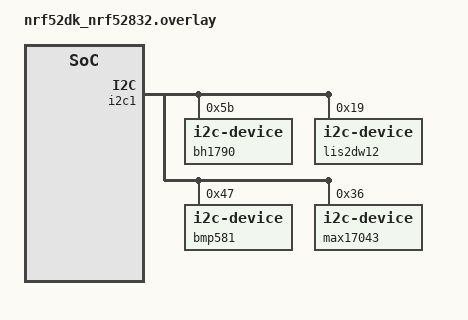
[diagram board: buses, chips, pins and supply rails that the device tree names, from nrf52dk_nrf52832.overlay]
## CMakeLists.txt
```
# SPDX-License-Identifier: Apache-2.0

cmake_minimum_required(VERSION 3.20.0)
find_package(Zephyr REQUIRED HINTS $ENV{ZEPHYR_BASE})
project(driveguardian_dk)

target_sources(app PRIVATE src/bmp581.c)
target_sources(app PRIVATE src/main.c)
target_sources(app PRIVATE src/lis2dw12tr.c)
target_sources(app PRIVATE src/bh1790glc.c)
target_sources(app PRIVATE src/sensor_data.c)
target_sources(app PRIVATE src/max17043.c)
target_include_directories(app PRIVATE inc)
```

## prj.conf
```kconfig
# Floating Point Format Specifiers Support
CONFIG_CBPRINTF_FP_SUPPORT=y
# I2C Support
CONFIG_I2C=y
# Logger module
CONFIG_LOG=y
# Nordic DK library
CONFIG_DK_LIBRARY=y
# Bluetooth LE
CONFIG_BT=y
# Bluetooth Peripheral Role
CONFIG_BT_PERIPHERAL=y
# Increase stack size for the main thread and System Workqueue
CONFIG_SYSTEM_WORKQUEUE_STACK_SIZE=2048
CONFIG_MAIN_STACK_SIZE=2048
```

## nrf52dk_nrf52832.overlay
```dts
// To get started, press Ctrl+Space to bring up the completion menu and view the available nodes.

// You can also use the buttons in the sidebar to perform actions on nodes.
// Actions currently available include:

// * Enabling / disabling the node
// * Adding the bus to a bus
// * Removing the node
// * Connecting ADC channels

// For more help, browse the DeviceTree documentation at https://docs.zephyrproject.org/latest/guides/dts/index.html
// You can also visit the nRF DeviceTree extension documentation at https://nrfconnect.github.io/vscode-nrf-connect/devicetree/nrfdevicetree.html

&i2c1 {
    bh1790:bh1790@5B{
		compatible = "i2c-device";
		status = "okay";
		reg = < 0x5B >;
	};

	lis2dw12:lis2dw12@19{
		compatible = "i2c-device";
		status = "okay";
		reg = < 0x19 >;
	};

	bmp581:bmp581@47{
		compatible="i2c-device";
		status = "okay";
		reg = <0x47>;
	};

	max17043:max17043@36{
		compatible="i2c-device";
		status = "okay";
		reg = <0x36>;
	};
};
```

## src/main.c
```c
/*
      Main Source File
      Author: João Pedro Baiense
      Date: 21/04/2024
*/

#include <zephyr/kernel.h>
#include <zephyr/drivers/gpio.h>
#include <zephyr/logging/log.h>
#include <zephyr/drivers/i2c.h>
#include <zephyr/bluetooth/bluetooth.h>
#include <zephyr/bluetooth/gap.h>
#include <zephyr/bluetooth/uuid.h>
#include <zephyr/bluetooth/conn.h>
#include <dk_buttons_and_leds.h>
#include "bh1790glc.h"
#include "lis2dw12tr.h"
#include "sensor_data.h"
#include "bmp581.h"
#include "max17043.h"

// The "foundries_io_mod" logger module level is set to "debug" (numeric level 4).
#define LOG_LEVEL CONFIG_FOUNDRIES_IO_MOD_LOG_LEVEL
#define LOG_MODULE_NAME foundries_io_mod
#include <zephyr/logging/log.h>
LOG_MODULE_REGISTER();

static struct bt_le_adv_param *adv_param = BT_LE_ADV_PARAM(
	(BT_LE_ADV_OPT_CONNECTABLE |
	 BT_LE_ADV_OPT_USE_IDENTITY), /* Connectable advertising and use identity address */
	800, /* Min Advertising Interval 500ms (800*0.625ms) */
	801, /* Max Advertising Interval 500.625ms (801*0.625ms) */
	NULL); /* Set to NULL for undirected advertising */

#define DEVICE_NAME "DRIVE_GUARDIAN"
#define DEVICE_NAME_LEN (sizeof(DEVICE_NAME) - 1)

#define STACKSIZE 1024
#define PRIORITY 0
/* Interval for run time */
#define RUN_INTERVAL 1000
/* Interval to send data over BLE */
#define NOTIFY_INTERVAL 500

static const struct bt_data ad[] = {
	BT_DATA_BYTES(BT_DATA_FLAGS, (BT_LE_AD_GENERAL | BT_LE_AD_NO_BREDR)),
	BT_DATA(BT_DATA_NAME_COMPLETE, DEVICE_NAME, DEVICE_NAME_LEN),
};

static const struct bt_data sd[] = {
	BT_DATA_BYTES(BT_DATA_UUID128_ALL, BT_UUID_DRIVE_GUARDIAN_VAL),
};

/* Struct that stores the data to stream over Bluetooth LE */
SensorData sensor_data;

float vcell;
uint16_t ppg_led_off;

/* thread function  */
void send_data_thread(void)
{
	while (1) {
		int err;

		err = BH1790GLC_get_val(&ppg_led_off, &sensor_data.ppg_led_on);

		if(err != SUCCESS){
			LOG_INF("Couldn't get PPG value!\n\r");
		}

		LOG_INF("PPG values retrieved, OFF: %d and ON: %d \n\r", ppg_led_off, sensor_data.ppg_led_on);

		sensor_data.x_axis_data = get_x_axes_data();

		sensor_data.y_axis_data = get_y_axes_data();

		sensor_data.z_axis_data = get_z_axes_data();

		LOG_INF("X axis data: %d, Y axis data: %d and Z axis data: %d\n\r", sensor_data.x_axis_data, sensor_data.y_axis_data, sensor_data.z_axis_data); 
		
		err = BMP581_get_temp_press_val(&sensor_data.temperature, &sensor_data.pressure);
	
		if(err != SUCCESS){
			LOG_INF("Couldn't get pressure value!\n\r");
		}

		LOG_INF("temperature value: %d and pressure value %d \n\r", sensor_data.temperature, sensor_data.pressure);

		err = max17043_get_vcell(&vcell);

		if(err != SUCCESS){
			LOG_INF("Couldn't get VCELL data!\n\r");
		}

		LOG_INF("vcell value: %f \n\r", vcell);
		
		err = max17043_get_soc(&sensor_data.soc);

		if(err != SUCCESS){
			LOG_INF("Couldn't get SOC data!\n\r");
		}
		
		LOG_INF("SOC value: %f \n\r", sensor_data.soc);	
		
		/* Send notification, the function sends notifications only if a client is subscribed */
		send_sensor_notify(&sensor_data);

		k_sleep(K_MSEC(NOTIFY_INTERVAL));
	}
}

static void on_connected(struct bt_conn *conn, uint8_t err)
{
	if (err) {
		printk("Connection failed (err %u)\n", err);
		return;
	}

	printk("Connected\n");
}

static void on_disconnected(struct bt_conn *conn, uint8_t reason)
{
	printk("Disconnected (reason %u)\n", reason);
}

struct bt_conn_cb connection_callbacks = {
	.connected = on_connected,
	.disconnected = on_disconnected,
};

void main(void)
{
	int err;

	err = BH1790GLC_init();

	if(err != 0){
		LOG_INF("Couldn't load PPG sensor!\n\r");
	} else {
		LOG_INF("PPG sensor loaded!\n\r");
	}

	err = lis2dw12_init();

	if(err != 0){
		LOG_INF("Couldn't load ACC sensor!\n\r");
	} else {
		LOG_INF("ACC sensor loaded!\n\r");
	}

	err = bmp581_init();

	if(err != 0){
		LOG_INF("Couldn't load pressure sensor!\n\r");
	} else {
		LOG_INF("pressure sensor loaded!\n\r");
	}

	err = max17043_init();

	if(err != 0){
		LOG_INF("Couldn't load fuel gauge!\n\r");
	} else {
		LOG_INF("Fuel gauge loaded!\n\r");
	}
	
	err = bt_enable(NULL);
	if (err) {
		LOG_ERR("Bluetooth init failed (err %d)\n", err);
		return;
	}
	
	bt_conn_cb_register(&connection_callbacks);

	LOG_INF("Bluetooth initialized\n");
	err = bt_le_adv_start(adv_param, ad, ARRAY_SIZE(ad), sd, ARRAY_SIZE(sd));
	if (err) {
		LOG_ERR("Advertising failed to start (err %d)\n", err);
		return;
	}

	LOG_INF("Advertising successfully started\n");
	for (;;) {
		k_sleep(K_MSEC(RUN_INTERVAL));
	}
}
/* Define and initialize a thread to send data periodically */
K_THREAD_DEFINE(send_data_thread_id, STACKSIZE, send_data_thread, NULL, NULL, NULL, PRIORITY, 0, 0);
```

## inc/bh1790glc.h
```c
/*
      BH1790GLC Sensor Driver
      Author: João Pedro Baiense
      Date: 29/12/2023
      based on: 
      https://github.com/looseleif/cardiac-wearable/blob/9faa5559f500fb312713b37a420e76c9843c2194/cardiac-wearable-firmware/AWEAR_proj/Core/Inc/BH1790GLC.h
      https://www.youtube.com/watch?v=prZomlfA_bI
      https://www.rohm.com/sensor-shield-support/heart-rate-sensor
      https://github.com/ROHMUSDC/BH1790GLC-EVK-001?tab=readme-ov-file
      https://www.canariatechnologies.com/post/what-is-ppg-technology-and-how-does-it-work
      https://soulfit.io/blog/how-does-ppg-technology-works/
*/

/* HEADER FILES */

#include <zephyr/kernel.h>
#include <zephyr/device.h>
#include <zephyr/devicetree.h>
#include <zephyr/drivers/i2c.h>
#include <zephyr/logging/log.h>
#include <math.h>
#include <stdio.h>
#include <stdint.h>

/* REGISTER MAP DEFINITIONS */

#define BH1790GLC_MANUFACTURER_ID     0x0F // Manufacturer ID : 0xE0 -> address 0x92 can also be used
#define BH1790GLC_PART_ID     0x10 // part ID : 0x0D
#define BH1790GLC_RESET     0x40 //  SWRESET
#define BH1790GLC_MEAS_CONTROL1     0x41 // Measurement setting Control
#define BH1790GLC_MEAS_CONTROL2     0x42 // Measurement setting Control
#define BH1790GLC_MEAS_START     0x43 // Start Measurement
#define BH1790GLC_DATAOUT_LEDOFF_L     0x54 // Measurement Data (LED OFF) 
#define BH1790GLC_DATAOUT_LEDOFF_H     0x55 // Measurement Data (LED OFF)
#define BH1790GLC_DATAOUT_LEDON_L     0x56 // Measurement Data (LED ON)
#define BH1790GLC_DATAOUT_LEDON_H     0x57 // Measurement Data (LED ON)

/********************Bits Definition*********************/

/*
  @brief: RESET
  @default: 00000000
  */

#define BH1790GLC_SWRESET (1 << 7) // Reset process is performed when writing SWRESET=1.

/*
  @brief: MEAS_CONTROL1
  @default: 00000000
  */

/* READY 
OSC block is active at “RDY=1”.
OSC block is supply clock to internal block.
*/
#define BH1790GLC_MEAS_CONTROL1_RDY                     (1 << 7)

/* Select LED emitting frequency */
#define BH1790GLC_MEAS_CONTROL1_LED_LIGHTING_FREQ_128HZ (0 << 2) // 128 Hz mode
#define BH1790GLC_MEAS_CONTROL1_LED_LIGHTING_FREQ_64HZ (1 << 2) // 64 Hz mode

/* RECYCLE 
Select Measurement time corresponding to data reading frequency. Measurement time depends on OSC cycle
64Hz Mode : 7370 x tosc ms
32Hz Mode : 14740 x tosc ms
*/
#define BH1790GLC_MEAS_CONTROL1_RCYCLE_64HZ             (1 << 0) // 64Hz Mode
#define BH1790GLC_MEAS_CONTROL1_RCYCLE_32HZ             (2 << 0) // 32Hz Mode

/*
  @brief: MEAS_CONTROL2
  @default: 00000000
  */

/* LED_EN
Select LED driver mode

Pulsed light emit after starting measurement(Write “MEAS_ST=1” or Read address 57h).
No light emit after measurement completion
*/
#define BH1790GLC_MEAS_CONTROL2_LED_EN_00               (0 << 6)
#define BH1790GLC_MEAS_CONTROL2_LED_EN_LED1_CONSTANT               (1 << 6) // LED 1 Constant Light Emission
#define BH1790GLC_MEAS_CONTROL2_LED_EN_LED2_CONSTANT               (2 << 6) // LED 2 Constant Light Emission
#define BH1790GLC_MEAS_CONTROL2_LED_EN_LED1_LED2_CONSTANT               (3 << 6) // LED 1 and LED 2 Constant Light Emission

/* LED_ON_TIME 
Select LED emitting time.
LED emitting time depends on by OSC cycle.
0.3ms Mode : 216 x tosc μs
0.6ms Mode : 432 x tosc μs
*/
#define BH1790GLC_MEAS_CONTROL2_LED_ON_TIME_0_3MS       (0 << 5) //  0.3ms Mode
#define BH1790GLC_MEAS_CONTROL2_LED_ON_TIME_0_6MS       (1 << 5) //  0.6ms Mode

/* LED_CURRENT
Select LED lighting current
*/
#define BH1790GLC_MEAS_CONTROL2_LED_CURRENT_0MA        (0 << 0) // 10mA Mode
#define BH1790GLC_MEAS_CONTROL2_LED_CURRENT_1MA        (0x8 << 0) // 1mA Mode
#define BH1790GLC_MEAS_CONTROL2_LED_CURRENT_2MA        (0x9 << 0) // 2mA Mode
#define BH1790GLC_MEAS_CONTROL2_LED_CURRENT_3MA        (0xA << 0) // 3mA Mode
#define BH1790GLC_MEAS_CONTROL2_LED_CURRENT_6MA        (0xB << 0) // 6mA Mode
#define BH1790GLC_MEAS_CONTROL2_LED_CURRENT_10MA        (0xC << 0) // 10mA Mode
#define BH1790GLC_MEAS_CONTROL2_LED_CURRENT_20MA        (0xD << 0) // 20mA Mode
#define BH1790GLC_MEAS_CONTROL2_LED_CURRENT_30MA        (0xE << 0) // 30mA Mode
#define BH1790GLC_MEAS_CONTROL2_LED_CURRENT_60MA        (0xF << 0) // 60mA Mode

/*
  @brief: MEAS_CONTROL2
  @default: 00000000
  */
 /* MEAS_ST
Start measurement by writing “MEAS_ST=1” after writing “RDY=1”.
Measurement doesn’t restart if writing “MEAS_ST=1” after start measurement.
When stop measurement, write “SWRESET=1” without writing “MEAS_ST=0”
*/
#define BH1790GLC_MEAS_START_MEAS_ST                    (1 << 0)

/* PRE-SETS*/
#define BH1790GLC_MEAS_CONTROL1_VAL   (BH1790GLC_MEAS_CONTROL1_RDY | BH1790GLC_MEAS_CONTROL1_LED_LIGHTING_FREQ_128HZ | BH1790GLC_MEAS_CONTROL1_RCYCLE_32HZ)
#define BH1790GLC_MEAS_CONTROL2_VAL   (BH1790GLC_MEAS_CONTROL2_LED_EN_00 | BH1790GLC_MEAS_CONTROL2_LED_ON_TIME_0_3MS | BH1790GLC_MEAS_CONTROL2_LED_CURRENT_10MA)
#define BH1790GLC_MEAS_START_VAL      (BH1790GLC_MEAS_START_MEAS_ST)

/*****************************************************************************
ERROR HANDLING
******************************************************************************/
#define SUCCESS				0

#define ERR_MID_VAL			10
#define ERR_PID_VAL			11

#define ERR_MEAS_CONTROL1	20
#define ERR_MEAS_CONTROL2	21
#define ERR_MEAS_START		22

#define ERR_DATA_OUT		30

#define ERR_RESET			90

#define ERR_DEVICE_NOT_READY 40

/*****************************************************************************
INIT FUNCTION
******************************************************************************/
uint8_t BH1790GLC_init();

/*****************************************************************************
DATA ACQUISITION FUNCTIONS
******************************************************************************/
uint8_t BH1790GLC_get_val(uint16_t *ppg_led_off, uint16_t *ppg_led_on);
uint8_t BH1790GLC_reset_device();
uint8_t BH1790GLC_param_refreshment();
```

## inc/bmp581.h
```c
/*
      BMP581 Sensor Driver
      Author: João Pedro Baiense
      Date: 29/12/2023
      based on: 
      https://github.com/Badger-Embedded/BMP581-Zephyr
      https://github.com/kkingsbe/STM-32-Libraries/tree/dc09c3a8cde5ed55a776936dd62454799e681db0/BMP581
      https://learn.sparkfun.com/tutorials/qwiic-pressure-sensor-bmp581-hookup-guide/all
*/

#include <zephyr/drivers/gpio.h>
#include <zephyr/types.h>
#include <zephyr/sys/util.h>
#include <zephyr/kernel.h>
#include <zephyr/device.h>
#include <zephyr/devicetree.h>
#include <zephyr/drivers/i2c.h> // header file of the I2C API
#include <zephyr/logging/log.h>
#include <math.h>
#include <stdio.h>
#include <stdint.h>


#define BMP5_OK									  0 
#define BMP5_SUCCESS                              0

/* BMP5 Registers */
#define BMP5_REG_CHIP_ID                          0x01 
#define BMP5_REG_TEMP_DATA_XLSB                   0x1D 
#define BMP5_REG_OSR_CONFIG                       0x36 
#define BMP5_REG_ODR_CONFIG                       0x37 
/* endof BMP5 Registers */

/* Chip id of BMP5 */
#define BMP5_CHIP_ID_PRIM                         0x50

#define BMP5_E_NULL_PTR                           -1

#define BMP5_OSR_PRESSURE_ENABLE                  0x20

/* Powermode */
#define BMP5_CONTINUOUS_ODR                        0x03

#define BMP5_SLEEP_ODR                            0

uint8_t bmp581_init();

uint32_t BMP581_get_temp_press_val(int32_t *temperature_degrees, int32_t *pressure_pascal);
```

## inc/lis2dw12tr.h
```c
/*
      LIS2DW12TR Sensor Driver
      Author: João Pedro Baiense
      Date: 29/12/2023
      based on: 
      https://github.com/nrfconnect/sdk-zephyr/tree/v2.4.99-ncs1/drivers/sensor/lis2dw12
      https://wiki.dfrobot.com/Gravity_I2C_LIS2DW12_Triple_Axis_Accelerometer_SKU_SEN0409
      https://github.com/STMicroelectronics/lis2dw12-pid
      https://www.youtube.com/watch?v=prZomlfA_bI
      https://www.youtube.com/watch?v=_JQAve05o_0&t=2047s
*/

/* HEADER FILES */

#include <zephyr/kernel.h>
#include <zephyr/device.h>
#include <zephyr/devicetree.h>
#include <zephyr/drivers/i2c.h> // header file of the I2C API
#include <zephyr/logging/log.h>
#include <math.h>
#include <stdio.h>
#include <stdint.h>

/* REGISTER MAP DEFINITIONS */

#define OUT_T_L     0x0D // Temp sensor output
#define OUT_T_H     0x0E // Temp sensor output
#define WHO_AM_I     0x0F //  Who am I ID -  Its value is fixed at 44h
#define CTRL1     0x20 // Control registers
#define CTRL2     0x21 // Control registers
#define CTRL3     0x22 // Control registers
#define CTRL4_INT1_PAD_CTRL     0x23 // Control registers 
#define CTRL5_INT2_PAD_CTRL     0x24 // Control registers
#define CTRL6     0x25 // Control registers
#define OUT_T     0x26 // Temp sensor output
#define STATUS     0x27 //  Status data register
#define OUT_X_L     0x28 // Output registers
#define OUT_X_H     0x29 // Output registers
#define OUT_Y_L     0x2A // Output registers
#define OUT_Y_H     0x2B // Output registers
#define OUT_Z_L     0x2C // Output registers
#define OUT_Z_H     0x2D // Output registers
#define FIFO_CTRL     0x2E //  FIFO control register
#define FIFO_SAMPLES     0x2F // Unread samples stored in FIFO
#define TAP_THS_X     0x30 // Tap thresholds
#define TAP_THS_Y     0x31 // Tap thresholds
#define TAP_THS_Z     0x32 // Tap thresholds
#define INT_DUR     0x33 // Interrupt duration
#define WAKE_UP_THS     0x34 // Tap/double-tap selection, inactivity enable, wakeup threshold
#define WAKE_UP_DUR     0x35 // Wakeup duration
#define FREE_FALL     0x36 //  Free-fall configuration
#define STATUS_DUP     0x37 //  Status register
#define WAKE_UP_SRC     0x38 //  Wakeup source
#define TAP_SRC     0x39 // Tap source
#define SIXD_SRC     0x3A //  6D source
#define ALL_INT_SRC     0x3B
#define X_OFS_USR     0x3C
#define Y_OFS_USR     0x3D
#define Z_OFS_USR     0x3E
#define CTRL_REG7     0x3F

/********************Bits Definition*********************/

/*
  @brief: CTRL1 register bits
  @default: 00000000
  */

/*Low-power mode selection Table 32*/
#define LP_MODE_POS                    (0U)
#define LP_MODE_MSK                    (0x03UL << LP_MODE_POS)
#define LP_MODE1                       ~(LP_MODE_MSK)
#define LP_MODE2                       (0x01UL << LP_MODE_POS)
#define LP_MODE3                       (0x02UL << LP_MODE_POS)
#define LP_MODE4                       (LP_MODE_MSK)


/*Mode selection Table 31*/
#define MODE_POS                       (2U)
#define MODE_MSK                       (0x03UL << MODE_POS)
#define LOW_POWER_MODE                 ~(MODE_MSK)
#define HIGH_PERFORMANCE_MODE          (0x01UL << MODE_POS)
#define SINGLE_DATA_CONVERSION_MODE    (0x02UL << MODE_POS)


/*Data rate configuration Table 30*/
#define ODR_POS                        (4U)
#define ODR_MSK                        (0x0FUL << ODR_POS)
#define POWER_DOWN                     ~(ODR_MSK)
#define LOW_POWER_MODE_1_6HZ           (0x01UL << ODR_POS)
#define LOW_POWER_MODE_12_5HZ          (0x02UL << ODR_POS)
#define LOW_POWER_MODE_25HZ            (0x03UL << ODR_POS)
#define LOW_POWER_MODE_50HZ            (0x04UL << ODR_POS)
#define LOW_POWER_MODE_100HZ           (0x05UL << ODR_POS)
#define LOW_POWER_MODE_200HZ           (0x06UL << ODR_POS)
#define LOW_POWER_MODE_400HZ           (0x07UL << ODR_POS)
#define LOW_POWER_MODE_800HZ           (0x08UL << ODR_POS)
#define LOW_POWER_MODE_1600HZ          (0x09UL << ODR_POS)

/*
  @brief: CTRL2 register
  @default: 00000100
  */

#define SIM_POS                        (0U)
#define SIM_MSK                        (0x01UL << SIM_POS)

#define I2C_DISABLE_POS                (1U)
#define I2C_DISABLE_MSK                (0x01UL << I2C_DISABLE_POS)

#define IF_ADD_INC_POS                 (2U)
#define IF_ADD_INC_MSK                 (0x01UL << IF_ADD_INC_POS)

#define BDU_POS                        (3U)
#define BDU_MSK                        (0x01UL << BDU_POS)

#define CS_PU_DISC_POS                 (4U)
#define CS_PU_DISC_MSK                 (0x01UL << CS_PU_DISC_POS)

#define SOFT_RESET_POS                 (6U)
#define SOFT_RESET_MSK                 (0x01UL << SOFT_RESET_POS)

#define BOOT_POS                       (7U)
#define BOOT_MSK                       (0x01UL << BOOT_POS)

/*
  @brief: CTRL3 register
  @default: 00000000
  */

#define SLP_MODE1_POS                  (0U)
#define SLP_MODE1_MSK                  (0x01UL << SLP_MODE1_POS)

#define SLP_MODE_SEL_POS               (1U)
#define SLP_MODE_SEL_MSK               (0x01UL << SLP_MODE_SEL_POS)

#define H_LACTIVE_POS                  (3U)
#define H_LACTIVE_MSK                  (0x01UL << H_LACTIVE_POS)

#define LIR_POS                        (4U)
#define LIR_MSK                        (0x01UL << LIR_POS)

#define PP_OD_POS                      (5U)
#define PP_OD_MSK                      (0x01UL << PP_OD_POS)

#define SELF_TEST_POS                  (6U)
#define SELF_TEST_MSK                  (0x03UL << SELF_TEST_POS)
#define NORMAL_MODE                    ~(SELF_TEST_MSK)
#define POS_SELF_TEST                  (0x01UL << SELF_TEST_POS)
#define NEG_SELF_TEST                  (0x02UL << SELF_TEST_POS)


/*
  @brief: CTRL6 register
  @default: 00000000
  */

#define LOW_NOISE_POS                  (2U)
#define LOW_NOISE_POS_MSK              (0x01UL << LOW_NOISE_POS)

#define FDS_POS                        (3U)
#define FDS_MSK                        (0x01UL << FDS_POS)

#define FS_POS                         (4U)
#define FS_MSK                         (0x03UL << FS_POS)
#define FS_2G                          ~(FS_MSK)
#define FS_4G                          (0x01UL << FS_POS)
#define FS_8G                          (0x02UL << FS_POS)
#define FS_16G                         (0x03UL << FS_POS)

#define BW_FILT_POS                    (6U)
#define BW_FILT_MSK                    (0x03UL << BW_FILT_POS)
#define BW_FILT_ODR_2                  ~(BW_FILT_MSK)
#define BW_FILT_ODR_4                  (0x01UL << BW_FILT_POS)
#define BW_FILT_ODR_10                 (0x02UL << BW_FILT_POS)
#define BW_FILT_ODR_20                 (0x03UL << BW_FILT_POS)

/*
  @brief: FIFO_CTRL register
  @default: 00000000
  */

#define FTH_POS                        (0U)
#define FTH_MSK                        (0x1F << FTH_POS)

#define FMODE_POS                      (5U)
#define FMODE_MSK                      (0x07UL << FMODE_POS)
#define FMODE_BYPASS                   ~(FMODE_MSK)
#define FMODE_FIFO                     (0x01UL << FMODE_POS)
#define FMODE_STREAM_TO_FIFO           (0x03UL << FMODE_POS)
#define FMODE_BYPASS_TO_STREAM         (0x04UL << FMODE_POS)
#define FMODE_STREAM                   (0x06UL << FMODE_POS)

uint8_t lis2dw12_init();
uint32_t get_x_axes_data(void);
uint32_t get_y_axes_data(void);
uint32_t get_z_axes_data(void);
```

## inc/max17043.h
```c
/*
      MAX17043 Sensor Driver
      Author: João Pedro Baiense
      Date: 29/12/2023
      based on: 
      https://learn.sparkfun.com/tutorials/lipo-fuel-gauge-max1704x-hookup-guide/all#breakout-board-max17043-hardware-overview
      https://github.com/koson/Altium-Project/blob/c4c576b9b974947f92309de567380dff323ca40e/nrf52-quadcopter/Firmware/drivers/max17043.h
      https://cdn.sparkfun.com/datasheets/Prototyping/MAX17043-MAX17044.pdf
*/

#ifndef _MAX17043_H
#define _MAX17043_H

#include <zephyr/kernel.h>
#include <zephyr/device.h>
#include <zephyr/devicetree.h>
#include <zephyr/drivers/i2c.h> // header file of the I2C API
#include <zephyr/logging/log.h>
#include <math.h>
#include <stdio.h>
#include <stdint.h>

//Device address
#define MAX17043_ADDRESS		0x36

//Internal registers
#define VCELL_REGISTER			0x02
#define SOC_REGISTER				0x04
#define MODE_REGISTER				0x06
#define VERSION_REGISTER		0x08
#define CONFIG_REGISTER			0x0C
#define COMMAND_REGISTER		0xFE

uint8_t max17043_init(void);

uint8_t max17043_get_vcell(float *vcell_data);
uint8_t max17043_get_soc(float *soc_val);
#endif
```

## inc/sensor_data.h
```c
/*
      Sensor Data
      Author: João Pedro Baiense
      Date: 21/04/2024
      based on: 
      https://academy.nordicsemi.com/

    * Copyright (c) 2018 Nordic Semiconductor ASA
    *
    * SPDX-License-Identifier: LicenseRef-Nordic-5-Clause
*/

#include <zephyr/types.h>
#include <stddef.h>
#include <string.h>
#include <errno.h>
#include <zephyr/sys/printk.h>
#include <zephyr/sys/byteorder.h>
#include <zephyr/kernel.h>
#include <zephyr/logging/log.h>
#include <zephyr/bluetooth/bluetooth.h>
#include <zephyr/bluetooth/hci.h>
#include <zephyr/bluetooth/conn.h>
#include <zephyr/bluetooth/uuid.h>
#include <zephyr/bluetooth/gatt.h>
#include <zephyr/types.h>

/**@file
 * @defgroup bt_DRIVE_GUARDIAN Service API
 * @{
 * @brief API for the Bluetooth Low Energy Drive Guardian (DRIVE_GUARDIAN).
 */

/** @brief DRIVE_GUARDIAN Service UUID. */
#define BT_UUID_DRIVE_GUARDIAN_VAL BT_UUID_128_ENCODE(0x6ab7e5ba, 0xfb0a, 04253, 0xa6ec, 0x7801217ca578)

/** @brief Sensor Data Characteristic UUID. */
#define BT_UUID_DRIVE_GUARDIAN_MYSENSOR_VAL  BT_UUID_128_ENCODE(0x6ab7e5bb, 0xfb0a, 04253, 0xa6ec, 0x7801217ca578)

#define BT_UUID_DRIVE_GUARDIAN BT_UUID_DECLARE_128(BT_UUID_DRIVE_GUARDIAN_VAL)
/* STEP 11.2 - Convert the array to a generic UUID */
#define BT_UUID_DRIVE_GUARDIAN_MYSENSOR BT_UUID_DECLARE_128(BT_UUID_DRIVE_GUARDIAN_MYSENSOR_VAL)


/* Additional Characteristics */

/** @brief Button Characteristic UUID. */
#define BT_UUID_DRIVE_GUARDIAN_BUTTON_VAL                                                                     \
	BT_UUID_128_ENCODE(0x00001524, 0x1212, 0xefde, 0x1523, 0x785feabcd123)

/** @brief LED Characteristic UUID. */
#define BT_UUID_DRIVE_GUARDIAN_LED_VAL BT_UUID_128_ENCODE(0x00001525, 0x1212, 0xefde, 0x1523, 0x785feabcd123)

#define BT_UUID_DRIVE_GUARDIAN_BUTTON BT_UUID_DECLARE_128(BT_UUID_DRIVE_GUARDIAN_BUTTON_VAL)
#define BT_UUID_DRIVE_GUARDIAN_LED BT_UUID_DECLARE_128(BT_UUID_DRIVE_GUARDIAN_LED_VAL)

/*

SENSOR DATA STRUCT

the device was sending 20 bytes data size instead of 18 bytes over the BLE, which interfered with the data reading on the Android side   
this issue is related to alignment or padding of the struct.

In C, compilers might add padding to structs to ensure proper alignment of data members, especially when dealing with different data types.
This padding can affect the size and layout of the struct in memory.

To ensure proper alignment and matching of data on both the device and Android sides, 
it is necessary to explicitly specify the struct's packing or alignment on the device side. 
This is achieved by using compiler-specific directives or attributes, such as __attribute__((packed)).
*/
typedef struct __attribute__((packed)) {
    uint16_t ppg_led_on;
    int16_t x_axis_data;
    int16_t y_axis_data;
    int16_t z_axis_data;
    int32_t temperature;
    int32_t pressure;
    float soc;
} SensorData;

/** @brief Send the sensor value as notification.
 *
 * @param[in] sensor_value Sensor data struct.
 *
 * @retval 0 If the operation was successful.
 *           Otherwise, a (negative) error code is returned.
 */
int send_sensor_notify(SensorData *data);
```

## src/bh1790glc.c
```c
/*
Measurement Sequence
1. Power On
2. Start measurement by writing the parameters of address 41h (MEAS_CONTROL1), 42h (MEAS_CONTROL2) and 43h (MEAS_START).
3. 
- Read data in order of address 54h and 55h (DATAOUT_LEDOFF) to 56h and 57 (DATAOUT_LEDON) after measurement complementation.
- Measurement finished within measurement time(Note 1 - Measurement time is changed by “RCYCLE” (Address 41h))
- Reading the data of address 57h (DATAOUT_LEDON) restart measurement.
4. After restart of measurement, repeat step3 then measurement data can be read.
5. Write “SWRESET=1” (Address 40h), when stop measurement or change parameter.
Repeat from step 2, when start measurement again.
6. Parameter refreshment is recommended. Write parameter of address 41h to 43h regularly after reading data
*/

#include "bh1790glc.h"

#define LOG_LEVEL CONFIG_FOUNDRIES_IO_MOD_LOG_LEVEL
#define LOG_MODULE_NAME foundries_io_mod
#include <zephyr/logging/log.h>

/*
 * Note LOG_MODULE_DECLARE() is used instead of LOG_MODULE_REGISTER().
 * Exactly one file registers the module. The other files in the
 * module still need to declare module-specific state before using
 * logger APIs.
 */
LOG_MODULE_DECLARE();

/* Get the node identifier of the sensor */
#define I2C0_NODE DT_NODELABEL(bh1790)

/* Retrieve the API-specific device structure and make sure that the device is ready to use  */
static const struct i2c_dt_spec dev_i2c = I2C_DT_SPEC_GET(I2C0_NODE);

#define NUM_SAMPLES			500
uint16_t ppg_data[2];

/*****************************************************************************
INIT FUNCTION
******************************************************************************/

uint8_t BH1790GLC_init(void){
    int ret;

    if (!device_is_ready(dev_i2c.bus)) {
		LOG_INF("I2C bus %s is not ready (BH1790 source)!\n\r",dev_i2c.bus->name);
        return ERR_DEVICE_NOT_READY;
	} else {
        LOG_INF("I2C bus %s for PPG sensor is ready!\n\r",dev_i2c.bus->name);
    }

    uint8_t manuf_id[2] = {BH1790GLC_MANUFACTURER_ID,0};
    ret = i2c_write_read_dt(&dev_i2c,&manuf_id[0],1,&manuf_id[1],1);
    if(ret != 0 && manuf_id[1] != 0xE0){
        LOG_INF("Failed to write to I2C device address %x at Reg. %x (PPG Manufacturer ID) \n\r", dev_i2c.addr, manuf_id[0]);
        return ERR_MID_VAL;
    } else {
        LOG_INF("PPG Manufacturer ID is: %x \n\r", manuf_id[1]);
    }

    uint8_t part_id[2] = {BH1790GLC_PART_ID,0};
    ret = i2c_write_read_dt(&dev_i2c,&part_id[0],1,&part_id[1],1);
    if(ret != 0 && part_id[1] != 0x0D){
        LOG_INF("Failed to write to I2C device address %x at Reg. %x (PPG Part ID) \n\r", dev_i2c.addr, part_id[0]);
        return ERR_PID_VAL;
    } else {
        LOG_INF("PPG Part ID is: %x \n\r", part_id[1]);
    }

    uint8_t meas_ctrl_1[2] = {BH1790GLC_MEAS_CONTROL1,BH1790GLC_MEAS_CONTROL1_VAL};
    ret = i2c_write_dt(&dev_i2c,meas_ctrl_1,sizeof(meas_ctrl_1));
    if(ret != 0){
        LOG_INF("Failed to write to I2C device address %x at Reg. %x (PPG Measurement control 1) \n\r", dev_i2c.addr, meas_ctrl_1[0]);
        return ERR_MEAS_CONTROL1;
    } else {
        LOG_INF("PPG Measurement control 1 fully set!\n\r");
    }

    uint8_t meas_ctrl_2[2] = {BH1790GLC_MEAS_CONTROL2,BH1790GLC_MEAS_CONTROL2_VAL};
    ret = i2c_write_dt(&dev_i2c,meas_ctrl_2,sizeof(meas_ctrl_2));
    if(ret != 0){
        LOG_INF("Failed to write to I2C device address %x at Reg. %x (PPG Measurement control 2) \n\r", dev_i2c.addr, meas_ctrl_2[0]);
        return ERR_MEAS_CONTROL2;
    } else {
        LOG_INF("PPG Measurement control 2 fully set!\n\r");
    }

    uint8_t meas_start[2] = {BH1790GLC_MEAS_START,BH1790GLC_MEAS_START_VAL};
    ret = i2c_write_dt(&dev_i2c,meas_start,sizeof(meas_start));
    if(ret != 0){
        LOG_INF("Failed to write to I2C device address %x at Reg. %x (PPG Start) \n\r", dev_i2c.addr, meas_start[0]);
        return ERR_MEAS_START;
    } else {
        LOG_INF("PPG Start fully set!\n\r");
    }

    return SUCCESS;
}

/*****************************************************************************
DATA ACQUISITION FUNCTIONS
******************************************************************************/
/*
 * Retrieves the ppg readings and stores them into *ppg_led_off and *ppg_led_on
 */
uint8_t BH1790GLC_get_val(uint16_t *ppg_led_off, uint16_t *ppg_led_on)
{
	int ret;
	uint8_t sensorData[4] = {0,0,0,0};
    uint8_t val_reg = BH1790GLC_DATAOUT_LEDOFF_L;

	ret = i2c_write_read_dt(&dev_i2c,&val_reg, 1, sensorData, 4);
	if(ret != 0){
        LOG_INF("Failed to write to I2C device address %x (PPG Data ON and OFF Measurement) at Reg. %x \n\r", dev_i2c.addr, BH1790GLC_DATAOUT_LEDOFF_L);
		return ERR_DATA_OUT;		//error check
	}

	//convert the sensorData values to useful data
	*ppg_led_off = ((uint16_t)sensorData[1]<<8)|(sensorData[0]);	//LED OFF
	*ppg_led_on = ((uint16_t)sensorData[3]<<8)|(sensorData[2]);	//LED ON

    //LOG_INF("PPG value retrieved: %d and %d \n\r", *ppg_led_off, *ppg_led_on);

	return SUCCESS;
}

/*
 * Writes “SWRESET=1” (Address 40h), when stop measurement or change parameter.
 * This will wipe all registers
 */
uint8_t BH1790GLC_reset_device(){
	int ret;
	uint8_t reset_config[2] = {BH1790GLC_RESET,BH1790GLC_SWRESET};

	ret = i2c_write_dt(&dev_i2c, reset_config, sizeof(reset_config));
	if(ret != 0){
		return ERR_RESET;
	}

	return SUCCESS;
}

/*
 * Run this periodically (according to the datasheet) after reading data
 */

uint8_t BH1790GLC_param_refreshment(){
	/* Keep count of errors */
	int ret;

	/* Configure the 3 registers needed to start taking measurements */
    uint8_t meas_ctrl_1[2] = {BH1790GLC_MEAS_CONTROL1,BH1790GLC_MEAS_CONTROL1_VAL};
    ret = i2c_write_dt(&dev_i2c,meas_ctrl_1,sizeof(meas_ctrl_1)); 
    if(ret != 0){
        return ERR_MEAS_CONTROL1;
    }

    uint8_t meas_ctrl_2[2] = {BH1790GLC_MEAS_CONTROL2,BH1790GLC_MEAS_CONTROL2_VAL};
    ret = i2c_write_dt(&dev_i2c,meas_ctrl_2,sizeof(meas_ctrl_2)); 
    if(ret != 0){
        return ERR_MEAS_CONTROL2;
    }

    uint8_t meas_start[2] = {BH1790GLC_MEAS_START,BH1790GLC_MEAS_START_VAL};
    ret = i2c_write_dt(&dev_i2c,meas_start,sizeof(meas_start)); 
    if(ret != 0){
        return ERR_MEAS_START;
    }

	return SUCCESS;
}
```

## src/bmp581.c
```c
#include "bmp581.h"
#define LOG_LEVEL CONFIG_FOUNDRIES_IO_MOD_LOG_LEVEL
#define LOG_MODULE_NAME foundries_io_mod
#include <zephyr/logging/log.h>

LOG_MODULE_DECLARE();

/* Node identifier of the sensor */
#define I2C0_NODE DT_NODELABEL(bmp581)

/* API-specific device structure */
static const struct i2c_dt_spec dev_i2c = I2C_DT_SPEC_GET(I2C0_NODE);

uint8_t bmp581_init(void){

    /*
    
    1 - CHIP ID
    2 - ODR (0x0)
    3- ODR (0x3)


    TEMP XLSB (6 readings to give temp and pressure)
    
    */

    int ret;

    if (!device_is_ready(dev_i2c.bus)) {
		LOG_INF("I2C bus %s is not ready (BMP581 source)!\n\r",dev_i2c.bus->name);
        return BMP5_E_NULL_PTR;
	} else {
        LOG_INF("I2C bus %s for Pressure is ready!\n\r",dev_i2c.bus->name);
    }

    uint8_t chip_id[2] = {BMP5_REG_CHIP_ID,0};
    ret = i2c_write_read_dt(&dev_i2c,&chip_id[0],1,&chip_id[1],1);
    if(ret != 0 && chip_id[1] != BMP5_CHIP_ID_PRIM){
        LOG_INF("Failed to write to I2C device address %x at Reg. %x (BMP581 CHIP ID) \n\r", dev_i2c.addr, chip_id[0]);
        return BMP5_E_NULL_PTR;
    } else {
        LOG_INF("Pressure sensor chip ID is: %x \n\r", chip_id[1]);
    }

    uint8_t osr_press_en[2] = {BMP5_REG_OSR_CONFIG,BMP5_OSR_PRESSURE_ENABLE};
    ret = i2c_write_dt(&dev_i2c,osr_press_en,sizeof(osr_press_en));
    if(ret != 0){
        LOG_INF("Failed to write to I2C device address %x at Reg. %x (BMP581 OSR PRESSURE ENABLE) \n\r", dev_i2c.addr, osr_press_en[0]);
        return BMP5_E_NULL_PTR;
    } else {
        LOG_INF("BMP581 OSR PRESSURE ENABLE fully set!\n\r");
    }

    uint8_t odr_sleep[2] = {BMP5_REG_ODR_CONFIG,BMP5_SLEEP_ODR};
    ret = i2c_write_dt(&dev_i2c,odr_sleep,sizeof(odr_sleep));
    if(ret != 0){
        LOG_INF("Failed to write to I2C device address %x at Reg. %x (BMP581 SLEEP ODR) \n\r", dev_i2c.addr, odr_sleep[0]);
        return BMP5_E_NULL_PTR;
    } else {
        LOG_INF("BMP581 ODR Sleep fully set!\n\r");
    }

    uint8_t odr_continuous[2] = {BMP5_REG_ODR_CONFIG,BMP5_CONTINUOUS_ODR};
    ret = i2c_write_dt(&dev_i2c,odr_continuous,sizeof(odr_continuous));
    if(ret != 0){
        LOG_INF("Failed to write to I2C device address %x at Reg. %x (BMP581 Continuous ODR) \n\r", dev_i2c.addr, odr_continuous[0]);
        return BMP5_E_NULL_PTR;
    } else {
        LOG_INF("BMP581 Continuous ODR fully set!\n\r");
    }

    return BMP5_SUCCESS;
}

/*****************************************************************************
DATA ACQUISITION FUNCTIONS
******************************************************************************/

uint32_t BMP581_get_temp_press_val(int32_t *temperature_degrees, int32_t *pressure_pascal)
{
	int ret = 0;

    uint8_t temp_press_data[6] = {0,0,0,0,0,0};
    uint8_t val_reg = BMP5_REG_TEMP_DATA_XLSB;

	ret = i2c_write_read_dt(&dev_i2c,&val_reg, 1, temp_press_data, 6);
	if(ret != 0){
        LOG_INF("Failed to write to I2C device address %x (BMP581) at Reg. %x \n\r", dev_i2c.addr, BMP5_REG_TEMP_DATA_XLSB);
		return BMP5_E_NULL_PTR;		//error check
	}
    
	if (ret == BMP5_OK)
	{
		/* Perform a division by 2^16 (according to the datasheet) for the temperature measured values to get the temperature data in deg C */
		int32_t raw_temperature = (int32_t)((uint32_t)(temp_press_data[2] << 16) | (uint16_t)(temp_press_data[1] << 8) | temp_press_data[0]);
        *temperature_degrees = (int32_t)(raw_temperature / 65536.0);

        /* Perform a division by 2^6 (according to the datasheet) for the pressured measured values to get the pressure data in Pa */
        uint32_t raw_pressure = (uint32_t)((uint32_t)(temp_press_data[5] << 16) | (uint16_t)(temp_press_data[4] << 8) | temp_press_data[3]);
        *pressure_pascal = (int32_t)(raw_pressure / 64.0);
		
        //LOG_INF("temperature value: %f and pressure value %f \n\r", *temperature_degrees, *pressure_pascal);

	}

	return ret;
}
```

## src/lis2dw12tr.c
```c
#include "lis2dw12tr.h"

#define LOG_LEVEL CONFIG_FOUNDRIES_IO_MOD_LOG_LEVEL
#define LOG_MODULE_NAME foundries_io_mod
#include <zephyr/logging/log.h>

LOG_MODULE_DECLARE();

/* Node identifier of the sensor */
#define I2C0_NODE DT_NODELABEL(lis2dw12)

/* API-specific device structure */
static const struct i2c_dt_spec dev_i2c = I2C_DT_SPEC_GET(I2C0_NODE);

uint8_t lis2dw12_init(void)
{
    /* Order to initialize the sensor
    1- WHO AM I R
    2- CTRL1 R/W -> HIGH_PERFORMANCE_MODE, LP_MODE2, LOW_POWER_MODE_12_5HZ
    3- CTRL2 R/W -> IF_ADD_INC_MSK, BDU_MSK, SOFT_RESET
    6- CTRL6 W -> FS_2G, LOW_PASS_FILTER, BW_FILT_ODR/4

    7- READ DATA
    
    To turn on the accelerometer and gather acceleration data, it is necessary to select one of the operating modes 
    through the CTRL1 register <- LIS2DW12 User Manual
    
    */

   	int ret;

	/* With this, we have the pointer to the device structure of the I2C controller and
	the sensor address(slave device address) and 
	can start using the I2C driver API to configure the sensor connected to the I2C controller.*/
    if (!device_is_ready(dev_i2c.bus)) {
		LOG_INF("I2C bus %s is not ready (LIS2DW12TR source)!\n\r",dev_i2c.bus->name);
		return -1;
	} else {
        LOG_INF("I2C bus %s for IMU is ready!\n\r",dev_i2c.bus->name);
    }

    /* GET WHO AM I -> DEVICE ID */
    uint8_t who_am_i[2]={WHO_AM_I, 0};
    ret = i2c_write_read_dt(&dev_i2c,&who_am_i[0],1,&who_am_i[1],1); // maybe use this i2c_write_read
    if(ret != 0 && who_am_i[1] != 0x44){
        LOG_INF("Failed to write to I2C device address %x (LIS2DW12TR WHO AM I) at Reg. %x \n\r", dev_i2c.addr, who_am_i[0]);
        return -1;
    } else {
        LOG_INF("IMU Device ID is: %x \n\r", who_am_i[1]);
    }

    /* CTRL2 configuration

    - (BDU) Block data update -> 1: output registers not updated until MSB and LSB read
    - (SOFT_RESET) Soft reset acts as reset for all control registers, then goes to 0 -> 1: enabled
    - (IF_ADD_INC) Register address automatically incremented during multiple byte access with a serial interface I2C -> 1: enabled
    */
    
    uint8_t ctrl2_config[2] = {CTRL2, BDU_MSK | SOFT_RESET_MSK | IF_ADD_INC_MSK}; // TODO: Check if this bitwise operation is correct
    ret = i2c_write_dt(&dev_i2c, ctrl2_config, sizeof(ctrl2_config));
    if(ret != 0){
		LOG_INF("Failed to write to I2C device address %x (LIS2DW12TR CTRL 2) at Reg. %x \n", dev_i2c.addr,ctrl2_config[0]);
        return -1;
	} else {
        LOG_INF("LIS2DW12TR Control 2 successfully written!\n\r");
    }

    /* CTRL1 configuration

    - (LP_MODE) Low-power mode selection ->  Low-Power Mode 2 (14-bit resolution)
    - (MODE) Mode selection -> High-Performance Mode (14-bit resolution)
    - (ODR) Output data rate and mode selection -> High-Performance / Low-Power mode 12.5 Hz
    */

    uint8_t ctrl1_config[2] = {CTRL1, LP_MODE2 | HIGH_PERFORMANCE_MODE | LOW_POWER_MODE_12_5HZ}; // TODO: Check if this bitwise operation is correct
    ret = i2c_write_dt(&dev_i2c, ctrl1_config, sizeof(ctrl1_config)); 
    if(ret != 0){
		LOG_INF("Failed to write to I2C device address %x (LIS2DW12TR CTRL 1) at Reg. %x \n", dev_i2c.addr,ctrl1_config[0]);
        return -1;
	} else {
        LOG_INF("LIS2DW12TR Control 1 successfully written!\n\r");
    }

    /* CTRL6 configuration

    - (FS) Full-scale selection ->   ±2 g
    - (FDS) Filtered data type selection -> 0: low-pass filter path selected
    - (BW_FILT)  Bandwidth selection -> ODR/4 (HP/LP)
    */

    uint8_t ctrl6_config[2] = {CTRL6, FS_2G | FDS_POS | BW_FILT_ODR_4}; // TODO: Check if this bitwise operation is correct
    ret = i2c_write_dt(&dev_i2c, ctrl6_config, sizeof(ctrl6_config));
    if(ret != 0){
		LOG_INF("Failed to write to I2C device address %x (LIS2DW12TR CTRL 6) at Reg. %x \n", dev_i2c.addr,ctrl6_config[0]);
        return -1;
	} else {
        LOG_INF("LIS2DW12TR Control 6 successfully written!\n\r");
    }

    return 0;
}


/*          LIS2DW12 User Manual
    The read operations should be performed as follows:
    1. Read the STATUS register.
    2. If DRDY = 0, then go to 1.
    3. Read OUT_X_L.
    4. Read OUT_X_H.
    5. Read OUT_Y_L.
    6. Read OUT_Y_H.
    7. Read OUT_Z_L.
    8. Read OUT_Z_H.
    9. Data processing
    10. Go to 1.


    The measured acceleration data are sent to the OUT_X_H, OUT_X_L, OUT_Y_H, OUT_Y_L, OUT_Z_H, and 
    OUT_Z_L registers. The complete output data for the X, Y, Z channels is given by the concatenation OUT_X_H & OUT_X_L, 
    OUT_Y_H & OUT_Y_L, OUT_Z_H & OUT_Z_L.
    
    After calculating the LSB, it must be multiplied by the proper sensitivity parameter to obtain the corresponding value in mg. 

    Example of output data:

    - Get raw data from the sensor (high-performance mode, ±2 g) -> OUT_X_L: 60h and OUT_X_H: FDh
    - Do register concatenation -> OUT_X_H & OUT_X_L: FD60h
    - Apply sensitivity (for example, 14-bit resolution, 0.244 at full scale ±2 g) -> X: -672 / 4 * 0.244 = -41 mg
*/

uint32_t get_x_axes_data(void){
    int ret;
    uint8_t x_axes_raw_data[2] = {0, 0};
    uint8_t x_axes_regs[2] = {OUT_X_L, OUT_X_H};
    ret = i2c_write_read_dt(&dev_i2c,&x_axes_regs[0],1,&x_axes_raw_data[0],1);
    if(ret != 0){
		LOG_INF("Failed to write/read I2C device address %x (LIS2DW12TR) at Reg. %x \r\n", dev_i2c.addr,x_axes_regs[0]);
	}
	ret = i2c_write_read_dt(&dev_i2c,&x_axes_regs[1],1,&x_axes_raw_data[1],1);
	if(ret != 0){
		LOG_INF("Failed to write/read I2C device address %x (LIS2DW12TR) at Reg. %x \r\n", dev_i2c.addr,x_axes_regs[1]);
	}

    int16_t x_axes_calculation = (((int16_t) x_axes_raw_data[1]) << 8) | x_axes_raw_data[0]; // shift the MSB register to form a 16 bit word that integrates X's low and high bits 
    int16_t x_axes_twos_complement;

    if (x_axes_calculation & 0x8000) { // this checks if the number is negative or positive by applying AND bit-by-bit, if the MSB is 1 then it's negative and needs to increment by 1
        // The value is negative
       x_axes_twos_complement = ((~x_axes_calculation) + 0x1) * -1;
    } else { // it's a positive value, no need to change anything
        x_axes_twos_complement = x_axes_calculation;
    }

    int16_t x_axes_converted_data = (x_axes_twos_complement/4) * 0.244; // formula to convert to mg for 14-bit resolution, 0.244 at full scale ±2 g based on the User Manual
    return x_axes_converted_data; // returns the value, but without the minus signal when it's negative - TODO: I think I fixed it, test it
}

uint32_t get_y_axes_data(void){
    int ret;
    uint8_t y_axes_raw_data[2] = {0, 0};
    uint8_t y_axes_regs[2] = {OUT_Y_L, OUT_Y_H};
    ret = i2c_write_read_dt(&dev_i2c,&y_axes_regs[0],1,&y_axes_raw_data[0],1);
    if(ret != 0){
		LOG_INF("Failed to write/read I2C device address %x (LIS2DW12TR) at Reg. %x \r\n", dev_i2c.addr,y_axes_regs[0]);
	}
	ret = i2c_write_read_dt(&dev_i2c,&y_axes_regs[1],1,&y_axes_raw_data[1],1);
	if(ret != 0){
		LOG_INF("Failed to write/read I2C device address %x (LIS2DW12TR) at Reg. %x \r\n", dev_i2c.addr,y_axes_regs[1]);
	}
    
    int16_t y_axes_calculation = (((int16_t) y_axes_raw_data[1]) << 8) | y_axes_raw_data[0];
    int16_t y_axes_twos_complement;

    if (y_axes_calculation & 0x8000) {
       y_axes_twos_complement = ((~y_axes_calculation) + 0x1) * -1;
    } else {
        y_axes_twos_complement = y_axes_calculation;
    }

    int16_t y_axes_converted_data = (y_axes_twos_complement/4) * 0.244;
    return y_axes_converted_data;
}

uint32_t get_z_axes_data(void){
    int ret;
    uint8_t z_axes_raw_data[2] = {0, 0};
    uint8_t z_axes_regs[2] = {OUT_Z_L, OUT_Z_H};
    ret = i2c_write_read_dt(&dev_i2c,&z_axes_regs[0],1,&z_axes_raw_data[0],1);
    if(ret != 0){
		LOG_INF("Failed to write/read I2C device address %x (LIS2DW12TR) at Reg. %x \r\n", dev_i2c.addr,z_axes_regs[0]);
	}
	ret = i2c_write_read_dt(&dev_i2c,&z_axes_regs[1],1,&z_axes_raw_data[1],1);
	if(ret != 0){
		LOG_INF("Failed to write/read I2C device address %x (LIS2DW12TR) at Reg. %x \r\n", dev_i2c.addr,z_axes_regs[1]);
	}

    int16_t z_axes_calculation = (((int16_t) z_axes_raw_data[1]) << 8) | z_axes_raw_data[0];
    int16_t z_axes_twos_complement;

    if (z_axes_calculation & 0x8000) {
       z_axes_twos_complement = ((~z_axes_calculation) + 0x1) * -1;
    } else {
        z_axes_twos_complement = z_axes_calculation;
    }

    int16_t z_axes_converted_data = (z_axes_twos_complement/4) * 0.244;
    return z_axes_converted_data; 
}
```

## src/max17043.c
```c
#include "max17043.h"
#include <stdbool.h>
#include <stdint.h>

#define LOG_LEVEL CONFIG_FOUNDRIES_IO_MOD_LOG_LEVEL
#define LOG_MODULE_NAME foundries_io_mod
#include <zephyr/logging/log.h>

LOG_MODULE_DECLARE();

/* Node identifier of the sensor */
#define I2C0_NODE DT_NODELABEL(max17043)

/* API-specific device structure */
static const struct i2c_dt_spec dev_i2c = I2C_DT_SPEC_GET(I2C0_NODE);

uint8_t max17043_init(void) 
{
    int ret = 0;

	/* With this, we have the pointer to the device structure of the I2C controller and
	the sensor address(slave device address) and 
	can start using the I2C driver API to configure the sensor connected to the I2C controller.*/
    if (!device_is_ready(dev_i2c.bus)) {
		LOG_INF("I2C bus %s is not ready (MAX17043 source)!\n\r",dev_i2c.bus->name);
		return -1;
	} else {
        LOG_INF("I2C bus %s for Fuel Gauge is ready!\n\r",dev_i2c.bus->name);
    }

    uint8_t version_register= VERSION_REGISTER;
    uint8_t version_raw_value[2]={0, 0};

    ret = i2c_write_read_dt(&dev_i2c,&version_register,1,version_raw_value,2); // maybe use this i2c_write_read
    if(ret != 0){
        LOG_INF("Failed to write to I2C device address %x (MAX17043 VERSION) at Reg. %x \n\r", dev_i2c.addr, version_register);
        return -1;
    } 

    uint16_t version_data = ((version_raw_value[0] << 8) | version_raw_value[1]); // ( (MSB << 8) | LSB )

    LOG_INF("MAX17043 VERSION is: %x \n\r", version_data);

    uint8_t reset_device[3] = {COMMAND_REGISTER, 0x00, 0x54};
    ret = i2c_write_dt(&dev_i2c,reset_device,sizeof(reset_device));
    if(ret != 0){
        LOG_INF("Failed to write to I2C device address %x at Reg. %x (MAX17043 RESET) \n\r", dev_i2c.addr, reset_device[0]);
        return -1;
    } else {
        LOG_INF("MAX17043 RESET fully set!\n\r");
    }

    k_sleep(K_MSEC(250));

    uint8_t quick_start[3] = {MODE_REGISTER, 0x40, 0x00};
    ret = i2c_write_dt(&dev_i2c,quick_start,sizeof(quick_start));
    if(ret != 0){
        LOG_INF("Failed to write to I2C device address %x at Reg. %x (MAX17043 QUICK START) \n\r", dev_i2c.addr, quick_start[0]);
        return -1;
    } else {
        LOG_INF("MAX17043 QUICK START fully set!\n\r");
    }

    k_sleep(K_MSEC(250));

    return ret;
}

uint8_t max17043_get_vcell(float *vcell_data) 
{
    int ret = 0;
	uint8_t vcell_raw_data[2] = {0,0};
    uint8_t vcell_reg = VCELL_REGISTER;

	ret = i2c_write_read_dt(&dev_i2c,&vcell_reg, 1, vcell_raw_data, 2);
	if(ret != 0){
        LOG_INF("Failed to write to I2C device address %x (MAX17043 VCELL MEASUREMENT) at Reg. %x \n\r", dev_i2c.addr, VCELL_REGISTER);
		return -1;		//error check
	}

    uint16_t vcell_shifted = ((vcell_raw_data[0] << 8) | (vcell_raw_data[1]));

    int vcell_converted = (vcell_shifted >> 4);
    
	*vcell_data = (float) vcell_converted * (1.25f / 1000.0f);

    return ret;
}

uint8_t max17043_get_soc(float *soc_val) 
{
    int ret = 0;
	uint8_t soc_raw_data[2] = {0,0};
    uint8_t soc_reg = SOC_REGISTER;

	ret = i2c_write_read_dt(&dev_i2c,&soc_reg, 1, soc_raw_data, 2);
	if(ret != 0){
        LOG_INF("Failed to write to I2C device address %x (MAX17043 SOC MEASUREMENT) at Reg. %x \n\r", dev_i2c.addr, SOC_REGISTER);
		return -1;		//error check
	}

    float percentage = soc_raw_data[0]; // The high byte is the percentage.

    float fraction = soc_raw_data[1] / 256.0f; // low byte contains additional resolution of 1/256%.

    *soc_val = (float) percentage + fraction;

    return ret;	
}
```

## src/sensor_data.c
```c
/*
 * Copyright (c) 2018 Nordic Semiconductor ASA
 *
 * SPDX-License-Identifier: LicenseRef-Nordic-5-Clause
 */

#include "sensor_data.h"

LOG_MODULE_DECLARE(DriveGuardian);

static bool notify_sensordata_enabled;

/* Configuration change callback function for the sensor data characteristic */
static void sensordata_ccc_sensordata_cfg_changed(const struct bt_gatt_attr *attr, uint16_t value)
{
	notify_sensordata_enabled = (value == BT_GATT_CCC_NOTIFY);
}

/* Service Declaration */
BT_GATT_SERVICE_DEFINE(
	drive_guardian, BT_GATT_PRIMARY_SERVICE(BT_UUID_DRIVE_GUARDIAN),
	BT_GATT_CHARACTERISTIC(BT_UUID_DRIVE_GUARDIAN_BUTTON, BT_GATT_CHRC_READ | BT_GATT_CHRC_INDICATE,
			       BT_GATT_PERM_READ, NULL, NULL, NULL),
	
	BT_GATT_CCC(NULL, BT_GATT_PERM_READ | BT_GATT_PERM_WRITE),

	BT_GATT_CHARACTERISTIC(BT_UUID_DRIVE_GUARDIAN_LED, BT_GATT_CHRC_WRITE, BT_GATT_PERM_WRITE, NULL,
			       NULL, NULL),
	/* Create and add the MYSENSOR characteristic and its CCCD  */
	BT_GATT_CHARACTERISTIC(BT_UUID_DRIVE_GUARDIAN_MYSENSOR, BT_GATT_CHRC_NOTIFY, BT_GATT_PERM_NONE, NULL,
			       NULL, NULL),
	/* Create and add the Client Characteristic Configuration Descriptor */
	BT_GATT_CCC(sensordata_ccc_sensordata_cfg_changed, BT_GATT_PERM_READ | BT_GATT_PERM_WRITE)
);

/* Function to send notifications for the sensor data characteristic */
int send_sensor_notify(SensorData *data)
{
	if (!notify_sensordata_enabled) {
		return -EACCES;
	}

	return bt_gatt_notify(NULL, &drive_guardian.attrs[7], data, sizeof(SensorData));
}
```
